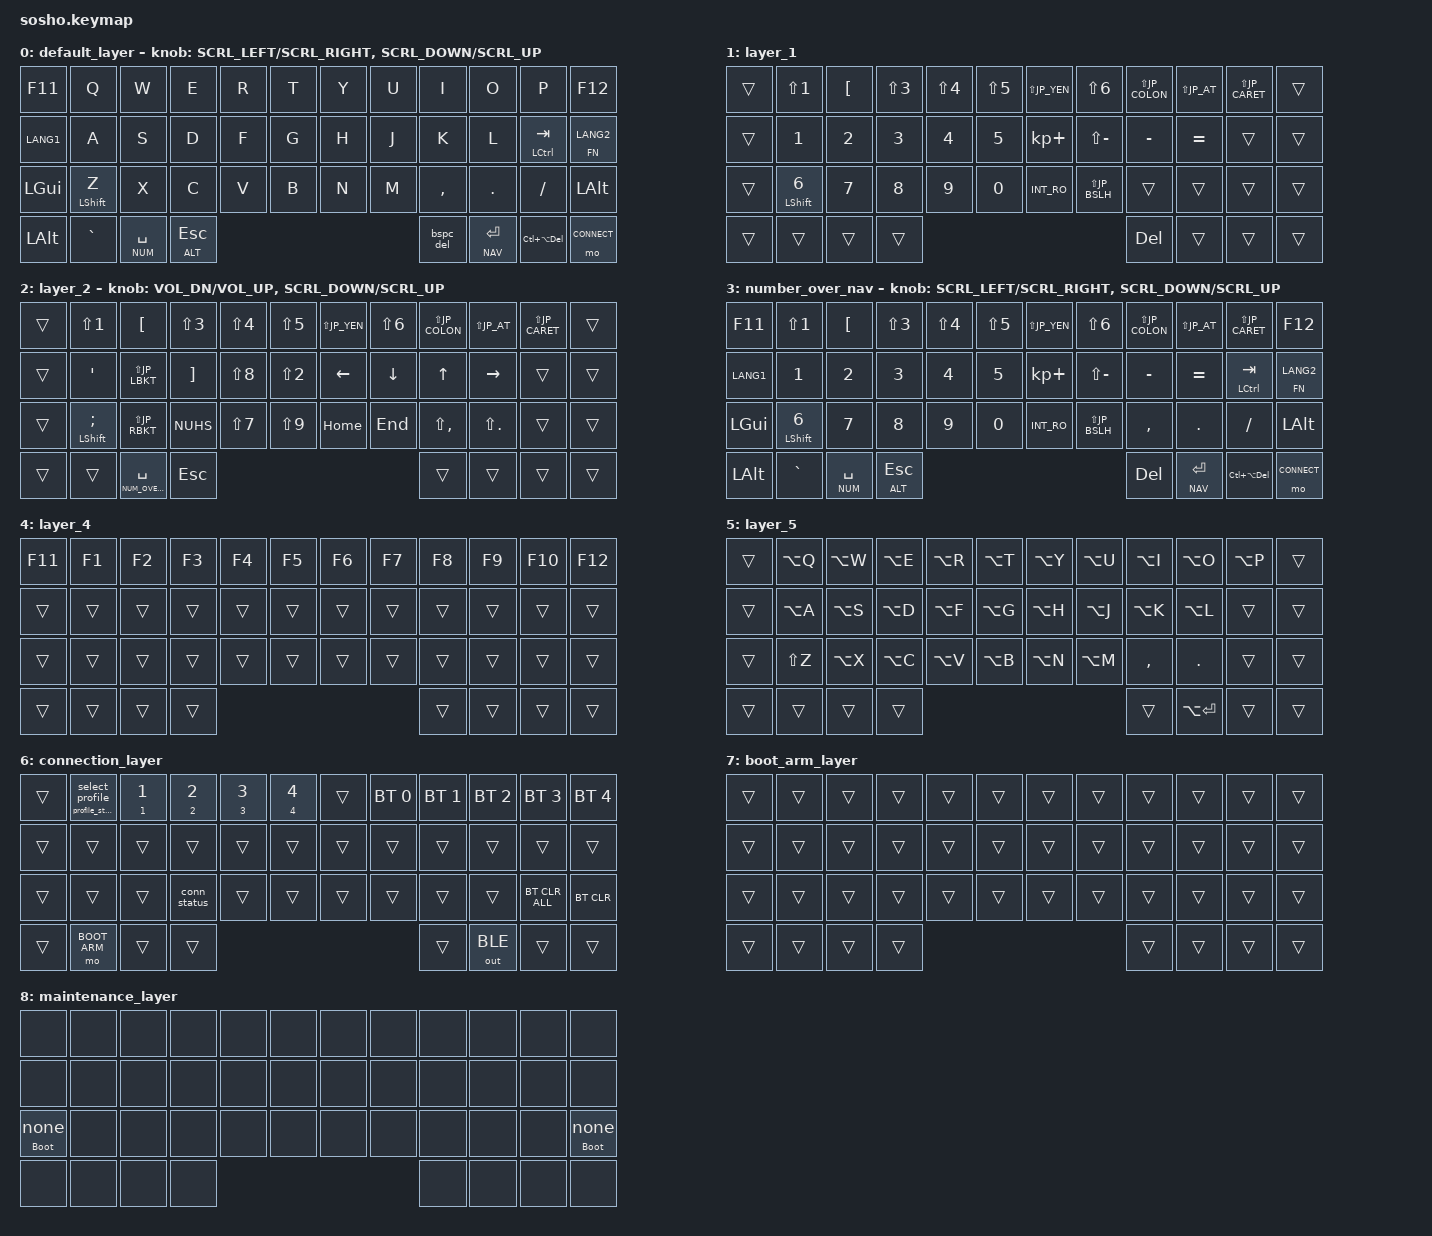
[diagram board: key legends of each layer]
//スクロール量の調整(デフォルト150)
#define ZMK_POINTING_DEFAULT_SCRL_VAL 150

#include <behaviors.dtsi>
#include <dt-bindings/zmk/bt.h>
#include <dt-bindings/zmk/keys.h>
#include <dt-bindings/zmk/modifiers.h>
#include <dt-bindings/zmk/pointing.h>
#include <dt-bindings/zmk/outputs.h>

// Higher layer numbers take priority over lower active layers.
#define BASE 0
#define NUM 1
#define NAV 2
#define NUM_OVER_NAV 3
#define FN 4
#define ALT 5
#define CONNECT 6
#define BOOT_ARM 7
#define MAINTENANCE 8

// Position events for the 44 physical keys use 0–43.
#define NO_PHYSICAL_KEY 44

// Raw HID positions for Windows JIS, not the US legends in keys.h.
#define JP_AT LBKT
#define JP_COLON SQT
#define JP_CARET EQUAL
#define JP_LBKT RBKT
#define JP_RBKT NUHS
#define JP_YEN INT_YEN
#define JP_BSLH INT_RO
#define JP_ZKHK GRAVE

/ {
	behaviors {
        bspc_del: backspace_delete {
            compatible = "zmk,behavior-mod-morph";
            #binding-cells = <0>;
            bindings = <&kp BSPC>, <&kp DEL>;
            mods = <(MOD_LSFT | MOD_RSFT)>;
            keep-mods = <0>;
        };

        profile_status: profile_status {
            compatible = "sosho,behavior-profile-status";
            #binding-cells = <1>;
            display-name = "Inspect Bluetooth Profile";
        };

        conn_status: conn_status {
            compatible = "sosho,behavior-connection-status";
            #binding-cells = <0>;
            display-name = "Show Current Connection";
        };

        profile_key: profile_key {
            compatible = "zmk,behavior-hold-tap";
            #binding-cells = <2>;
            tapping-term-ms = <350>;
            flavor = "tap-preferred";
            bindings = <&profile_status>, <&select_profile>;
        };

        boot_hold: boot_hold {
            compatible = "zmk,behavior-hold-tap";
            #binding-cells = <2>;
            tapping-term-ms = <1000>;
            flavor = "tap-preferred";
            // Any physical key release before the timeout cancels the hold.
            hold-trigger-on-release;
            hold-trigger-key-positions = <NO_PHYSICAL_KEY>;
            bindings = <&bootloader>, <&none>;
        };

        ec_ms_l: ec_ms_h {
            compatible = "sosho,behavior-encoder-mouse-scroll";
            #sensor-binding-cells = <2>;
            scroll-multiplier = <2>;
        };
        ec_ms_r: ec_ms_v {
            compatible = "sosho,behavior-encoder-mouse-scroll";
            #sensor-binding-cells = <2>;
            scroll-multiplier = <2>;
        };
    };

    macros {
        select_profile: select_profile {
            compatible = "zmk,behavior-macro-one-param";
            #binding-cells = <1>;
            bindings = <&macro_param_1to2>, <&bt BT_SEL 0>;
        };
    };
};

//スクロールの調整
&msc {
    time-to-max-speed-ms = <0>;   // 即座に最大速度（加速なし）
    acceleration-exponent = <0>;   // 加速なし
};

&mt {
    flavor = "tap-preferred";
    tapping-term-ms = <180>;
    // A tap followed by a hold can activate Ctrl, rather than repeat Tab.
    quick-tap-ms = <0>;
};

&lt {
    flavor = "tap-preferred";
    tapping-term-ms = <180>;
    // Space/Enter can activate their layers even immediately after a tap.
    quick-tap-ms = <0>;
};

&sk {
    quick-release;
};

/{
    combos {
        compatible = "zmk,combos";
		//左クリックのコンボ 19はJのキー 20はKのキーに相当します。
	    combo_LCLK {
            timeout-ms = <50>;
            key-positions = <19 20>;
            bindings = <&mkp LCLK>;
            layers = <BASE>;
        };

		//右クリックのコンボ 20 K 21 L
        combo_RCLK {
            timeout-ms = <50>;
            key-positions = <20 21>;
            bindings = <&mkp RCLK>;
            layers = <BASE>;
        };

		//ホイールクリックのコンボ 19 J 21 L
	    combo_MCLK {
            timeout-ms = <90>;
            key-positions = <19 21>;
            bindings = <&mkp MCLK>;
            layers = <BASE>;
        };

        combo_BACK {
            timeout-ms = <50>;
            key-positions = <19 20>;
            bindings = <&mkp MB4>;
            layers = <NUM NUM_OVER_NAV>;
        };

        combo_FORWARD {
            timeout-ms = <50>;
            key-positions = <20 21>;
            bindings = <&mkp MB5>;
            layers = <NUM NUM_OVER_NAV>;
        };

        combo_SHIFT {
            timeout-ms = <50>;
            key-positions = <15 20>;
            bindings = <&sk LSHFT>;
            layers = <BASE NUM NAV NUM_OVER_NAV>;
        };

        combo_CTRL {
            timeout-ms = <30>;
            require-prior-idle-ms = <150>;
            key-positions = <16 19>;
            bindings = <&sk LCTRL>;
            layers = <BASE>;
        };

    };
};

/{
    conditional_layers {
        compatible = "zmk,conditional-layers";
        arm_maintenance {
            if-layers = <CONNECT BOOT_ARM>;
            then-layer = <MAINTENANCE>;
        };
    };
};

/{
keymap {
    compatible = "zmk,keymap";

    default_layer {
        bindings = <
            &kp F11         &kp Q  &kp W  &kp E  &kp R  &kp T     &kp Y     &kp U     &kp I      &kp O    &kp P          &kp F12
            &kp LANG1       &kp A  &kp S  &kp D  &kp F  &kp G     &kp H     &kp J     &kp K      &kp L    &mt LCTRL TAB  &lt FN LANG2
            &kp LGUI        &mt LSHFT Z &kp X &kp C &kp V &kp B  &kp N     &kp M     &kp COMMA  &kp DOT  &kp SLASH      &kp LALT
            &kp LALT        &kp JP_ZKHK &lt NUM SPACE &lt ALT ESC &bspc_del &lt NAV ENTER                  &kp LC(LA(DEL)) &mo CONNECT
        >;
		//&ec_ms_lとrは、上のビヘイビアで作ったもの。
        sensor-bindings = <&ec_ms_l SCRL_LEFT SCRL_RIGHT &ec_ms_r SCRL_DOWN SCRL_UP>;
    };
	
    layer_1 {
        bindings = <
            &trans  &kp LS(N1)  &kp JP_AT  &kp LS(N3)  &kp LS(N4)  &kp LS(N5)   &kp LS(JP_YEN)  &kp LS(N6)  &kp LS(JP_COLON)  &kp LS(JP_AT)  &kp LS(JP_CARET)  &trans
            &trans  &kp N1      &kp N2     &kp N3      &kp N4      &kp N5       &kp KP_PLUS     &kp LS(MINUS) &kp MINUS        &kp JP_CARET   &trans           &trans
            &trans  &mt LSHFT N6 &kp N7    &kp N8      &kp N9      &kp N0       &kp JP_BSLH     &kp LS(JP_BSLH) &trans          &trans         &trans           &trans
            &trans  &trans                              &trans     &trans      &kp DEL         &trans                                         &trans           &trans
        >;
    };

    layer_2 {
        bindings = <
            &trans  &kp LS(N1)   &kp JP_AT        &kp LS(N3)  &kp LS(N4)  &kp LS(N5)   &kp LS(JP_YEN)  &kp LS(N6)  &kp LS(JP_COLON)  &kp LS(JP_AT)  &kp LS(JP_CARET)  &trans
            &trans  &kp JP_COLON &kp LS(JP_LBKT)  &kp JP_LBKT &kp LS(N8)  &kp LS(N2)   &kp LEFT        &kp DOWN    &kp UP            &kp RIGHT      &trans           &trans
            &trans  &mt LSHFT SEMI &kp LS(JP_RBKT) &kp JP_RBKT &kp LS(N7) &kp LS(N9)   &kp HOME        &kp END     &kp LS(COMMA)     &kp LS(DOT)    &trans           &trans
            &trans  &trans                                  &lt NUM_OVER_NAV SPACE &kp ESC &trans     &trans                                          &trans           &trans
        >;
		//レイヤー2のときだけ、左手のエンコーダを回すとボリュームの上下ができるようになっています。
		sensor-bindings = <&inc_dec_kp C_VOL_DN C_VOL_UP &ec_ms_r SCRL_DOWN SCRL_UP>;

    };

    // Resolve NUM's transparent keys to BASE explicitly so NAV cannot leak
    // through (e.g. '<'/'>' instead of ','/'.'). Momentary activation via &lt
    // leaves NAV active underneath, restoring it when Space is released.
    number_over_nav {
        bindings = <
            &kp F11   &kp LS(N1) &kp JP_AT &kp LS(N3) &kp LS(N4) &kp LS(N5)   &kp LS(JP_YEN) &kp LS(N6) &kp LS(JP_COLON) &kp LS(JP_AT) &kp LS(JP_CARET) &kp F12
            &kp LANG1 &kp N1     &kp N2    &kp N3     &kp N4     &kp N5       &kp KP_PLUS    &kp LS(MINUS) &kp MINUS      &kp JP_CARET  &mt LCTRL TAB   &lt FN LANG2
            &kp LGUI  &mt LSHFT N6 &kp N7  &kp N8     &kp N9     &kp N0       &kp JP_BSLH    &kp LS(JP_BSLH) &kp COMMA     &kp DOT       &kp SLASH       &kp LALT
            &kp LALT  &kp JP_ZKHK                   &lt NUM SPACE &lt ALT ESC &kp DEL        &lt NAV ENTER                                 &kp LC(LA(DEL)) &mo CONNECT
        >;
        sensor-bindings = <&ec_ms_l SCRL_LEFT SCRL_RIGHT &ec_ms_r SCRL_DOWN SCRL_UP>;
    };

    layer_4 {
        bindings = <
            &kp F11 &kp F1  &kp F2  &kp F3  &kp F4  &kp F5   &kp F6    &kp F7    &kp F8  &kp F9  &kp F10  &kp F12
            &trans  &trans  &trans  &trans  &trans  &trans   &trans    &trans    &trans  &trans  &trans   &trans
            &trans  &trans  &trans  &trans  &trans  &trans   &trans    &trans    &trans  &trans  &trans   &trans
            &trans  &trans                 &trans  &trans   &trans    &trans                    &trans   &trans
        >;
    };

    layer_5 {
        bindings = <
            &trans  &kp LA(Q) &kp LA(W)  &kp LA(E)  &kp LA(R)  &kp LA(T)   &kp LA(Y)  &kp LA(U)  &kp LA(I)  &kp LA(O)  &kp LA(P) &trans
            &trans  &kp LA(A) &kp LA(S)  &kp LA(D)  &kp LA(F)  &kp LA(G)   &kp LA(H)  &kp LA(J)  &kp LA(K)  &kp LA(L)  &trans   &trans
            &trans  &kp LS(Z) &kp LA(X)  &kp LA(C)  &kp LA(V)  &kp LA(B)   &kp LA(N)  &kp LA(M)  &kp COMMA  &kp DOT    &trans   &trans
            &trans  &trans                                   &trans     &trans      &trans     &kp LA(ENTER)                       &trans   &trans
        >;
    };

    connection_layer {
        bindings = <
            &trans &profile_key 0 0 &profile_key 1 1 &profile_key 2 2 &profile_key 3 3 &profile_key 4 4   &trans         &bt BT_SEL 0 &bt BT_SEL 1 &bt BT_SEL 2 &bt BT_SEL 3   &bt BT_SEL 4
            &trans &trans           &trans           &trans           &trans           &trans             &trans         &trans       &trans       &trans       &trans         &trans
            &trans &trans           &trans           &conn_status     &trans           &trans             &trans         &trans       &trans       &trans       &bt BT_CLR_ALL &bt BT_CLR
            &trans &mo BOOT_ARM         &trans &trans   &trans &out OUT_BLE                           &trans         &trans
        >;
    };

    boot_arm_layer {
        bindings = <
            &trans &trans &trans &trans &trans &trans   &trans &trans &trans &trans &trans &trans
            &trans &trans &trans &trans &trans &trans   &trans &trans &trans &trans &trans &trans
            &trans &trans &trans &trans &trans &trans   &trans &trans &trans &trans &trans &trans
            &trans &trans        &trans &trans &trans   &trans               &trans        &trans
        >;
    };

    maintenance_layer {
        bindings = <
            &none          &none &none &none &none &none   &none &none &none &none &none &none
            &none          &none &none &none &none &none   &none &none &none &none &none &none
            &boot_hold 0 0 &none &none &none &none &none   &none &none &none &none &none &boot_hold 0 0
            &none          &none       &none &none &none   &none             &none       &none
        >;
    };

};
};
